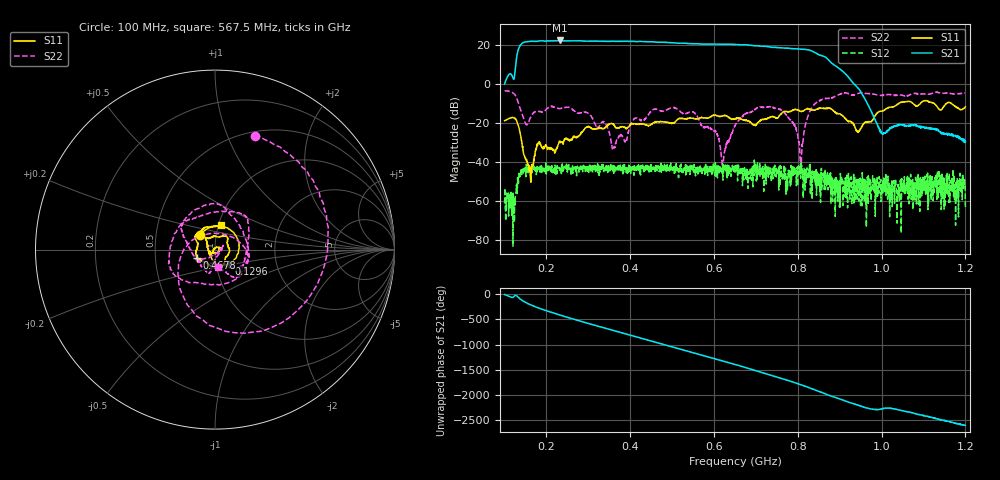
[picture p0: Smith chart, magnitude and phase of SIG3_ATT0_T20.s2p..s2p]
# Hz S DB R 50
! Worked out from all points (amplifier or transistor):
!   1601 points, 100 MHz to 1.2 GHz, reference 50 ohm
!   highest |S21| = 22.5 dB at 232 MHz (marker M1)
!   |S21| within 3 dB of that: 136 MHz to 716 MHz (579.9 MHz wide, 136 % of centre) (the widest 1 of 2)
!   unconditionally stable (mu >= 1): start of sweep to end of sweep
!   at 282.9 MHz: K = 4.82, MAG = 22.4 dB, |S12| = -42.2 dB
!   at 650 MHz: K = 8.43, MAG = 20.5 dB, |S12| = -45.2 dB
!   at 1.2 GHz: K = 12357.14, MAG = -27.1 dB, |S12| = -63.1 dB
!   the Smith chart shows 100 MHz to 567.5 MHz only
!   S11 on the Smith chart (normalised r, x): 100 MHz: 0.84, +0.14; 129.6 MHz: 1.15, -0.18; 467.8 MHz: 0.82, -0.07; 567.5 MHz: 1.03, +0.28
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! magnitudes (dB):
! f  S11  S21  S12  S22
! 100 MHz  -18.7  0.1  -61.2  -3.5
! 121.3 MHz  -17.1  2.6  -66.2  -4.6
! 129.6 MHz  -19.2  14.9  -51.2  -7.5
! 160.5 MHz  -44.1  22.1  -42.3  -17.7
! 180.4 MHz  -30.1  22.2  -43.8  -13.9
! 232 MHz  -29.5  22.5  -43.0  -12.5
! 283.6 MHz  -25.0  22.3  -44.3  -14.5
! 339.2 MHz  -22.3  22.1  -42.4  -19.8
! 360.6 MHz  -20.6  22.1  -45.7  -33.2
! 467.1 MHz  -19.4  21.6  -42.2  -13.1
! 467.8 MHz  -19.3  21.6  -43.1  -13.2
! 567.5 MHz  -17.1  20.7  -45.4  -20.2
! 604.6 MHz  -16.0  20.6  -42.5  -24.5
! 620.4 MHz  -16.4  20.5  -40.8  -43.7
! 650 MHz  -17.7  20.4  -45.2  -21.4
! 757.9 MHz  -15.7  18.8  -41.8  -13.1
! 807.4 MHz  -14.0  18.0  -40.5  -39.9
! 833.6 MHz  -13.1  17.1  -44.7  -11.9
! 944.2 MHz  -24.7  -2.1  -48.9  -4.7
! 1.017 GHz  -11.9  -23.7  -52.5  -5.2
! 1.192 GHz  -13.0  -28.1  -59.3  -4.6
! 1.2 GHz  -11.5  -29.4  -63.1  -4.3
